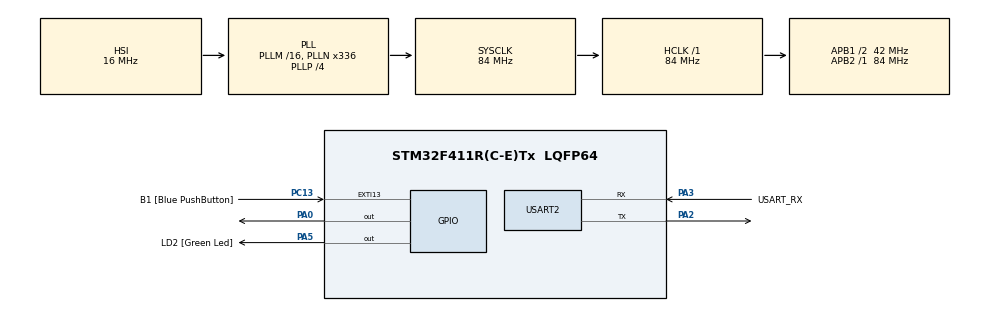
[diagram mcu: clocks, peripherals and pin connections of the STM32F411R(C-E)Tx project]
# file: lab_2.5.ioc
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Mcu.Family=STM32F4
Mcu.Name=STM32F411R(C-E)Tx
Mcu.Package=LQFP64
NVIC.PriorityGroup=NVIC_PRIORITYGROUP_0
PA0-WKUP.Signal=GPIO_Output
PA13.GPIO_Label=TMS
PA13.Mode=Serial_Wire
PA13.Signal=SYS_JTMS-SWDIO
PA14.GPIO_Label=TCK
PA14.Mode=Serial_Wire
PA14.Signal=SYS_JTCK-SWCLK
PA2.Mode=Asynchronous
PA2.Signal=USART2_TX
PA3.GPIO_Label=USART_RX
PA3.Mode=Asynchronous
PA3.Signal=USART2_RX
PA5.GPIO_Label=LD2 [Green Led]
PA5.Signal=GPIO_Output
PB3.GPIO_Label=SWO
PB3.Signal=SYS_JTDO-SWO
PC13-ANTI_TAMP.GPIO_Label=B1 [Blue PushButton]
PC13-ANTI_TAMP.GPIO_ModeDefaultEXTI=GPIO_MODE_IT_FALLING
PC13-ANTI_TAMP.Signal=GPXTI13
PC14-OSC32_IN.Mode=LSE-External-Oscillator
PC14-OSC32_IN.Signal=RCC_OSC32_IN
PC15-OSC32_OUT.Mode=LSE-External-Oscillator
PC15-OSC32_OUT.Signal=RCC_OSC32_OUT
PH0\ -\ OSC_IN.Mode=HSE-External-Clock-Source
PH0\ -\ OSC_IN.Signal=RCC_OSC_IN
PH1\ -\ OSC_OUT.Mode=HSE-External-Clock-Source
PH1\ -\ OSC_OUT.Signal=RCC_OSC_OUT
ProjectManager.HeapSize=0x200
ProjectManager.StackSize=0x400
ProjectManager.TargetToolchain=STM32CubeIDE
RCC.48MHZClocksFreq_Value=84000000
RCC.AHBFreq_Value=84000000
RCC.APB1CLKDivider=RCC_HCLK_DIV2
RCC.APB1Freq_Value=42000000
RCC.APB1TimFreq_Value=84000000
RCC.APB2Freq_Value=84000000
RCC.APB2TimFreq_Value=84000000
RCC.CortexFreq_Value=84000000
RCC.FLatency-AdvancedSettings=FLASH_LATENCY_2
RCC.HCLKFreq_Value=84000000
RCC.HSE_VALUE=8000000
RCC.HSI_VALUE=16000000
RCC.PLLN=336
RCC.PLLP=RCC_PLLP_DIV4
RCC.SYSCLKFreq_VALUE=84000000
RCC.SYSCLKSource=RCC_SYSCLKSOURCE_PLLCLK
RCC.VCOOutputFreq_Value=336000000
USART2.VirtualMode=VM_ASYNC
board=NUCLEO-F411RE

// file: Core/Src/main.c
/* USER CODE BEGIN Header */
/**
 ******************************************************************************
 * @file           : main.c
 * @brief          : Main program body
 ******************************************************************************
 * @attention
 *
 * Copyright (c) 2024 STMicroelectronics.
 * All rights reserved.
 *
 * This software is licensed under terms that can be found in the LICENSE file
 * in the root directory of this software component.
 * If no LICENSE file comes with this software, it is provided AS-IS.
 *
 ******************************************************************************
 */
/* USER CODE END Header */
#include "main.h"

UART_HandleTypeDef huart2;

void SystemClock_Config(void);
static void MX_GPIO_Init(void);
static void MX_USART2_UART_Init(void);

int main(void) {

	/* MCU Configuration--------------------------------------------------------*/

	/* Reset of all peripherals, Initializes the Flash interface and the Systick. */
	HAL_Init();

	/* Configure the system clock */
	SystemClock_Config();

	/* Initialize all configured peripherals */
	MX_GPIO_Init();
	MX_USART2_UART_Init();

	/* USER CODE BEGIN 2 */
	uint8_t buf[256];
	uint8_t idx = 0;
	/* USER CODE END 2 */

	/* Infinite loop */
	while (1) {

		/* USER CODE BEGIN 3 */
		if (HAL_UART_Receive(&huart2, buf + idx, 1, 1000) == HAL_OK) {
			HAL_UART_Transmit(&huart2, buf + idx, 1, 1000);
			if (buf[idx] == '\r' || buf[idx] == '\n') {
				uint8_t returned[128];
				sprintf(returned, "detected line break\r\n\n");
				HAL_UART_Transmit(&huart2, returned, strlen(returned), 1000);

				if ((idx >= 2) && (buf[idx - 2] == 'n')
						&& (buf[idx - 1] == 'o')) {
					HAL_GPIO_WritePin(GPIOA, GPIO_PIN_5, GPIO_PIN_RESET);

					uint8_t returned[128];
					sprintf(returned, "NAH BRO\r\n\n");
					HAL_UART_Transmit(&huart2, returned, strlen(returned),
							1000);
					//HAL_Delay(1000);

					//['y'e s \n]
				} else if ((idx >= 3) && (buf[idx - 3] == 'y')
						&& (buf[idx - 2] == 'e') && (buf[idx - 1] == 's')) {
					HAL_GPIO_WritePin(GPIOA, GPIO_PIN_5, GPIO_PIN_SET);

					uint8_t returned[128];
					sprintf(returned, "YAAAASSSS SIS\r\n\n");
					HAL_UART_Transmit(&huart2, returned, strlen(returned),
							1000);
					//HAL_Delay(1000);
					//['y'e s \n]
				} else {
					uint8_t returned[128];
					sprintf(returned, "wrong la \r\n\n");
					HAL_UART_Transmit(&huart2, returned, strlen(returned),
							1000);
					//HAL_Delay(1000);
					//['y'e s \n]
				}

				idx = 0;
			}
			idx++;
		}
	}
	/* USER CODE END 3 */
}

void SystemClock_Config(void) {
	RCC_OscInitTypeDef RCC_OscInitStruct = { 0 };
	RCC_ClkInitTypeDef RCC_ClkInitStruct = { 0 };

	/** Configure the main internal regulator output voltage
	 */
	__HAL_RCC_PWR_CLK_ENABLE();
	__HAL_PWR_VOLTAGESCALING_CONFIG(PWR_REGULATOR_VOLTAGE_SCALE1);

	/** Initializes the RCC Oscillators according to the specified parameters
	 * in the RCC_OscInitTypeDef structure.
	 */
	RCC_OscInitStruct.OscillatorType = RCC_OSCILLATORTYPE_HSI;
	RCC_OscInitStruct.HSIState = RCC_HSI_ON;
	RCC_OscInitStruct.HSICalibrationValue = RCC_HSICALIBRATION_DEFAULT;
	RCC_OscInitStruct.PLL.PLLState = RCC_PLL_ON;
	RCC_OscInitStruct.PLL.PLLSource = RCC_PLLSOURCE_HSI;
	RCC_OscInitStruct.PLL.PLLM = 16;
	RCC_OscInitStruct.PLL.PLLN = 336;
	RCC_OscInitStruct.PLL.PLLP = RCC_PLLP_DIV4;
	RCC_OscInitStruct.PLL.PLLQ = 4;
	if (HAL_RCC_OscConfig(&RCC_OscInitStruct) != HAL_OK) {
		Error_Handler();
	}

	/** Initializes the CPU, AHB and APB buses clocks
	 */
	RCC_ClkInitStruct.ClockType = RCC_CLOCKTYPE_HCLK | RCC_CLOCKTYPE_SYSCLK
			| RCC_CLOCKTYPE_PCLK1 | RCC_CLOCKTYPE_PCLK2;
	RCC_ClkInitStruct.SYSCLKSource = RCC_SYSCLKSOURCE_PLLCLK;
	RCC_ClkInitStruct.AHBCLKDivider = RCC_SYSCLK_DIV1;
	RCC_ClkInitStruct.APB1CLKDivider = RCC_HCLK_DIV2;
	RCC_ClkInitStruct.APB2CLKDivider = RCC_HCLK_DIV1;

	if (HAL_RCC_ClockConfig(&RCC_ClkInitStruct, FLASH_LATENCY_2) != HAL_OK) {
		Error_Handler();
	}
}

static void MX_USART2_UART_Init(void) {

	huart2.Instance = USART2;
	huart2.Init.BaudRate = 115200;
	huart2.Init.WordLength = UART_WORDLENGTH_8B;
	huart2.Init.StopBits = UART_STOPBITS_1;
	huart2.Init.Parity = UART_PARITY_NONE;
	huart2.Init.Mode = UART_MODE_TX_RX;
	huart2.Init.HwFlowCtl = UART_HWCONTROL_NONE;
	huart2.Init.OverSampling = UART_OVERSAMPLING_16;
	if (HAL_UART_Init(&huart2) != HAL_OK) {
		Error_Handler();
	}

}

static void MX_GPIO_Init(void) {
	GPIO_InitTypeDef GPIO_InitStruct = { 0 };

	/* GPIO Ports Clock Enable */
	__HAL_RCC_GPIOC_CLK_ENABLE();
	__HAL_RCC_GPIOH_CLK_ENABLE();
	__HAL_RCC_GPIOA_CLK_ENABLE();
	__HAL_RCC_GPIOB_CLK_ENABLE();

	/*Configure GPIO pin Output Level */
	HAL_GPIO_WritePin(GPIOA, GPIO_PIN_0 | LD2_Pin, GPIO_PIN_RESET);

	/*Configure GPIO pin : B1_Pin */
	GPIO_InitStruct.Pin = B1_Pin;
	GPIO_InitStruct.Mode = GPIO_MODE_IT_FALLING;
	GPIO_InitStruct.Pull = GPIO_NOPULL;
	HAL_GPIO_Init(B1_GPIO_Port, &GPIO_InitStruct);

	/*Configure GPIO pins : PA0 LD2_Pin */
	GPIO_InitStruct.Pin = GPIO_PIN_0 | LD2_Pin;
	GPIO_InitStruct.Mode = GPIO_MODE_OUTPUT_PP;
	GPIO_InitStruct.Pull = GPIO_NOPULL;
	GPIO_InitStruct.Speed = GPIO_SPEED_FREQ_LOW;
	HAL_GPIO_Init(GPIOA, &GPIO_InitStruct);

}

void Error_Handler(void) {
	__disable_irq();
	while (1) {
	}
}
